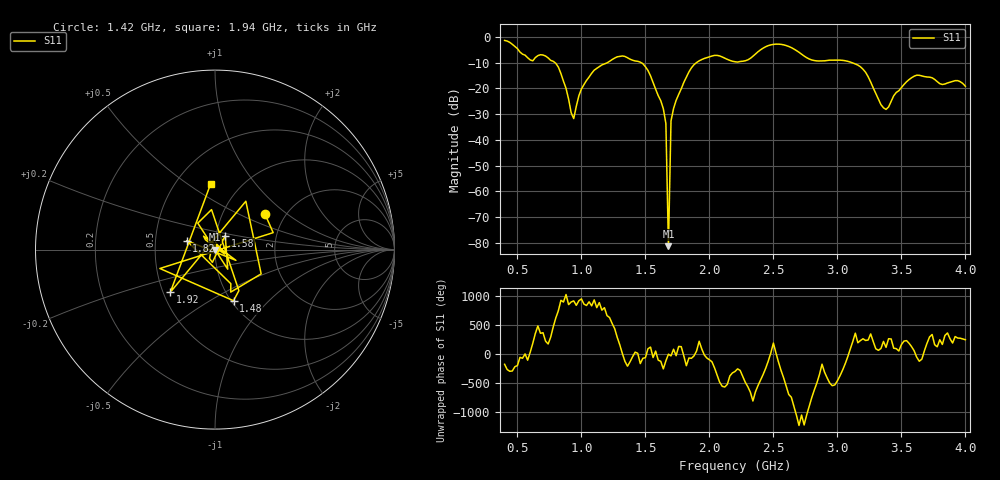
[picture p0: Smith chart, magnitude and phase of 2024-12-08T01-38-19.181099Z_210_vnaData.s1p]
!Created with skrf (http://scikit-rf.org).
# Hz S RI R 50.0
!freq ReS11 ImS11
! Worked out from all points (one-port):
!   181 points, 400 MHz to 4 GHz, reference 50 ohm
!   lowest |S11| = -81.3 dB at 1.68 GHz (marker M1), VSWR 1.00, Z = 50 + j0.000107 ohm
!   |S11| at or under -10 dB: 794.2 MHz to 1.202 GHz (407.6 MHz wide, 40.8 % of centre); 1.468 GHz to 1.898 GHz (430.2 MHz wide, 25.6 % of centre); 3.115 GHz to end of sweep
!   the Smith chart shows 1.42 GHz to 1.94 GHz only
!   S11 on the Smith chart (normalised r, x): 1.42 GHz: 1.57, +0.71; 1.48 GHz: 1.03, -0.64; 1.58 GHz: 1.11, +0.17; 1.82 GHz: 0.72, +0.07; 1.92 GHz: 0.55, -0.29; 1.94 GHz: 0.73, +0.62
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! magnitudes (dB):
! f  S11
! 400 MHz  -1.3
! 600 MHz  -8.9
! 780 MHz  -9.4
! 860 MHz  -17.2
! 940 MHz  -31.7
! 1 GHz  -20.2
! 1.08 GHz  -14.1
! 1.3 GHz  -7.5
! 1.42 GHz  -9.3
! 1.48 GHz  -10.4
! 1.58 GHz  -20.3
! 1.64 GHz  -27.9
! 1.66 GHz  -33.6
! 1.68 GHz  -81.3
! 1.7 GHz  -32.6
! 1.76 GHz  -22.3
! 1.82 GHz  -15.6
! 1.92 GHz  -9.3
! 1.94 GHz  -8.8
! 2.2 GHz  -9.6
! 2.48 GHz  -3.0
! 2.66 GHz  -4.7
! 2.8 GHz  -8.9
! 3.1 GHz  -9.7
! 3.22 GHz  -13.7
! 3.38 GHz  -28.2
! 3.56 GHz  -16.5
! 4 GHz  -19.2
